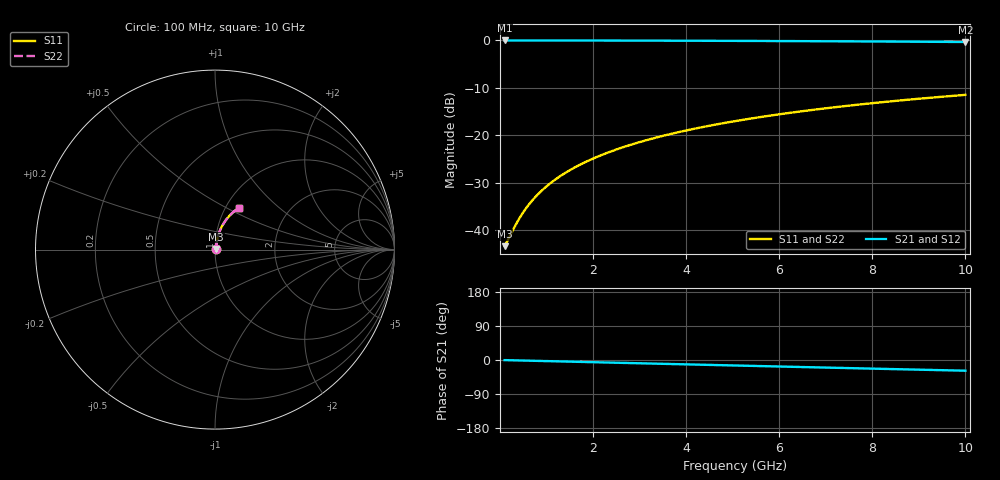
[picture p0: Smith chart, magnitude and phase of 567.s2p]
# Hz S RI R 50.00
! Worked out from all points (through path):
!   100 points, 100 MHz to 10 GHz, reference 50 ohm
!   highest |S21| = -0.05 dB at 100 MHz (marker M1); lowest = -0.4 dB at 10 GHz (marker M2)
!   group delay of S21, straight-line fit = 7.86 ps
!   lowest |S11| = -43.3 dB at 100 MHz (marker M3), VSWR 1.01, Z = 50.6 + j0.284 ohm
!   |S11| at or under -10 dB: start of sweep to end of sweep
!   |S22| runs from -43.3 to -11.5 dB; largest |S21 - S12| = 0
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1e8  0.00622 0.0028  0.9938 -0.00501  0.9938 -0.00501  0.00622 0.0028
3e8  0.0064 0.0084  0.9936 -0.015  0.9936 -0.015  0.0064 0.0084
4e8  0.00652 0.0112  0.9934 -0.02  0.9934 -0.02  0.00652 0.0112
5e8  0.00667 0.014  0.9933 -0.025  0.9933 -0.025  0.00667 0.014
6e8  0.00684 0.0168  0.9931 -0.03  0.9931 -0.03  0.00684 0.0168
7e8  0.00704 0.0196  0.9928 -0.035  0.9928 -0.035  0.00704 0.0196
8e8  0.00727 0.0224  0.9926 -0.04  0.9926 -0.04  0.00727 0.0224
1e9  0.0078 0.028  0.9919 -0.05  0.9919 -0.05  0.0078 0.028
1.2e9  0.00845 0.0335  0.9912 -0.06  0.9912 -0.06  0.00845 0.0335
1.5e9  0.00961 0.0418  0.9898 -0.0749  0.9898 -0.0749  0.00961 0.0418
1.8e9  0.011 0.0501  0.9881 -0.0898  0.9881 -0.0898  0.011 0.0501
2.1e9  0.0127 0.0583  0.9862 -0.1046  0.9862 -0.1046  0.0127 0.0583
2.5e9  0.0153 0.0692  0.9831 -0.1243  0.9831 -0.1243  0.0153 0.0692
2.9e9  0.0183 0.0799  0.9796 -0.1438  0.9796 -0.1438  0.0183 0.0799
3.4e9  0.0227 0.0931  0.9744 -0.1681  0.9744 -0.1681  0.0227 0.0931
4.2e9  0.031 0.1136  0.9646 -0.2063  0.9646 -0.2063  0.031 0.1136
5.1e9  0.0422 0.1358  0.9513 -0.2484  0.9513 -0.2484  0.0422 0.1358
5.9e9  0.0537 0.1545  0.9376 -0.2848  0.9376 -0.2848  0.0537 0.1545
6.7e9  0.0666 0.172  0.9222 -0.3202  0.9222 -0.3202  0.0666 0.172
7.5e9  0.0807 0.1885  0.9052 -0.3544  0.9052 -0.3544  0.0807 0.1885
8.4e9  0.098 0.2054  0.8844 -0.3914  0.8844 -0.3914  0.098 0.2054
1e10  0.1315 0.2314  0.8433 -0.4531  0.8433 -0.4531  0.1315 0.2314
